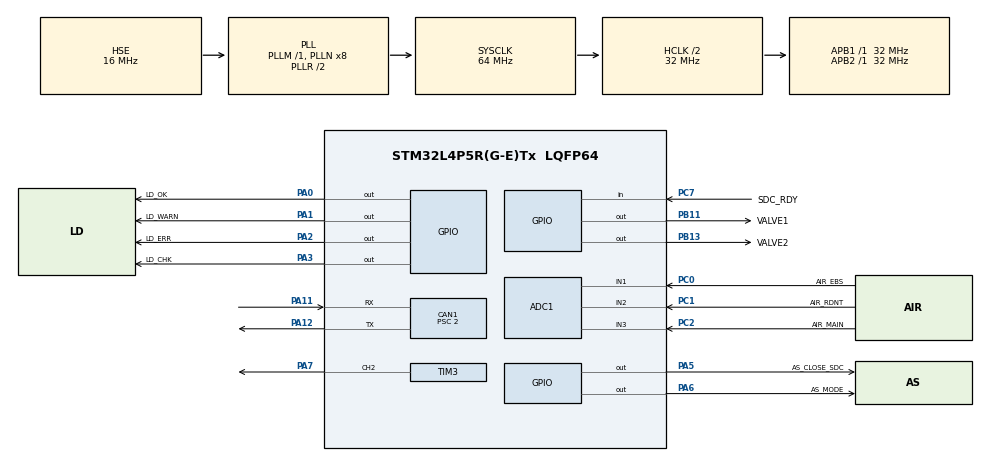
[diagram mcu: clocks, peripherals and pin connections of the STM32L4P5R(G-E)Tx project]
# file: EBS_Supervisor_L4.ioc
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ADC1.Channel-0\#ChannelRegularConversion=ADC_CHANNEL_1
ADC1.Channel-1\#ChannelRegularConversion=ADC_CHANNEL_2
ADC1.Channel-2\#ChannelRegularConversion=ADC_CHANNEL_3
ADC1.DMAContinuousRequests=ENABLE
ADC1.NbrOfConversion=3
ADC1.NbrOfConversionFlag=1
ADC1.OffsetNumber-0\#ChannelRegularConversion=ADC_OFFSET_NONE
ADC1.OffsetNumber-1\#ChannelRegularConversion=ADC_OFFSET_NONE
ADC1.OffsetNumber-2\#ChannelRegularConversion=ADC_OFFSET_NONE
ADC1.Rank-0\#ChannelRegularConversion=1
ADC1.Rank-1\#ChannelRegularConversion=2
ADC1.Rank-2\#ChannelRegularConversion=3
ADC1.SamplingTime-0\#ChannelRegularConversion=ADC_SAMPLETIME_2CYCLES_5
ADC1.SamplingTime-1\#ChannelRegularConversion=ADC_SAMPLETIME_2CYCLES_5
ADC1.SamplingTime-2\#ChannelRegularConversion=ADC_SAMPLETIME_2CYCLES_5
ADC1.master=1
CAN1.BS1=CAN_BS1_13TQ
CAN1.BS2=CAN_BS2_2TQ
CAN1.CalculateBaudRate=1000000
CAN1.CalculateTimeBit=1000
CAN1.CalculateTimeQuantum=62.5
CAN1.Mode=CAN_MODE_NORMAL
CAN1.Prescaler=2
Dma.ADC1.0.Direction=DMA_PERIPH_TO_MEMORY
Dma.ADC1.0.EventEnable=DISABLE
Dma.ADC1.0.Instance=DMA1_Channel1
Dma.ADC1.0.MemDataAlignment=DMA_MDATAALIGN_HALFWORD
Dma.ADC1.0.MemInc=DMA_MINC_ENABLE
Dma.ADC1.0.Mode=DMA_CIRCULAR
Dma.ADC1.0.PeriphDataAlignment=DMA_PDATAALIGN_HALFWORD
Dma.ADC1.0.PeriphInc=DMA_PINC_DISABLE
Dma.ADC1.0.Polarity=HAL_DMAMUX_REQ_GEN_RISING
Dma.ADC1.0.Priority=DMA_PRIORITY_MEDIUM
Dma.ADC1.0.RequestNumber=1
Dma.ADC1.0.SignalID=NONE
Dma.ADC1.0.SyncEnable=DISABLE
Dma.ADC1.0.SyncPolarity=HAL_DMAMUX_SYNC_NO_EVENT
Dma.ADC1.0.SyncRequestNumber=1
Dma.ADC1.0.SyncSignalID=NONE
Dma.Request0=ADC1
Mcu.Family=STM32L4
Mcu.Name=STM32L4P5R(G-E)Tx
Mcu.Package=LQFP64
NVIC.CAN1_RX0_IRQn=true\:0\:0\:false\:false\:true\:true\:true\:true
NVIC.CAN1_RX1_IRQn=true\:0\:0\:false\:false\:true\:true\:true\:true
NVIC.DMA1_Channel1_IRQn=true\:0\:0\:false\:false\:true\:false\:true\:true
NVIC.PriorityGroup=NVIC_PRIORITYGROUP_4
PA0.GPIO_Label=LD_OK
PA0.Signal=GPIO_Output
PA1.GPIO_Label=LD_WARN
PA1.Signal=GPIO_Output
PA11.Mode=CAN_Activate
PA11.Signal=CAN1_RX
PA12.Mode=CAN_Activate
PA12.Signal=CAN1_TX
PA13\ (JTMS/SWDIO).Mode=Serial_Wire
PA13\ (JTMS/SWDIO).Signal=SYS_JTMS-SWDIO
PA14\ (JTCK/SWCLK).Mode=Serial_Wire
PA14\ (JTCK/SWCLK).Signal=SYS_JTCK-SWCLK
PA2.GPIO_Label=LD_ERR
PA2.Signal=GPIO_Output
PA3.GPIO_Label=LD_CHK
PA3.Signal=GPIO_Output
PA5.GPIO_Label=AS_CLOSE_SDC
PA5.Signal=GPIO_Output
PA6.GPIO_Label=AS_MODE
PA6.Signal=GPIO_Output
PA7.Signal=S_TIM3_CH2
PB11.GPIO_Label=VALVE1
PB11.Signal=GPIO_Output
PB13.GPIO_Label=VALVE2
PB13.Signal=GPIO_Output
PC0.GPIO_Label=AIR_EBS
PC0.Signal=ADCx_IN1
PC1.GPIO_Label=AIR_RDNT
PC1.Signal=ADCx_IN2
PC2.GPIO_Label=AIR_MAIN
PC2.Signal=ADCx_IN3
PC7.GPIO_Label=SDC_RDY
PC7.Signal=GPIO_Input
PH0-OSC_IN\ (PH0).Mode=HSE-External-Oscillator
PH0-OSC_IN\ (PH0).Signal=RCC_OSC_IN
PH1-OSC_OUT\ (PH1).Mode=HSE-External-Oscillator
PH1-OSC_OUT\ (PH1).Signal=RCC_OSC_OUT
ProjectManager.HeapSize=0x200
ProjectManager.StackSize=0x400
ProjectManager.TargetToolchain=CMake
RCC.ADCFreq_Value=64000000
RCC.AHBCLKDivider=RCC_SYSCLK_DIV2
RCC.AHBFreq_Value=32000000
RCC.APB1Freq_Value=32000000
RCC.APB1TimFreq_Value=32000000
RCC.APB2Freq_Value=32000000
RCC.APB2TimFreq_Value=32000000
RCC.CortexFreq_Value=32000000
RCC.HCLKFreq_Value=32000000
RCC.HSE_VALUE=16000000
RCC.HSI48_VALUE=48000000
RCC.HSI_VALUE=16000000
RCC.LSE_VALUE=32768
RCC.MSI_VALUE=4000000
RCC.PLLSourceVirtual=RCC_PLLSOURCE_HSE
RCC.SYSCLKFreq_VALUE=64000000
RCC.SYSCLKSource=RCC_SYSCLKSOURCE_PLLCLK
RCC.USBFreq_Value=64000000
RCC.VCOOutputFreq_Value=128000000
SH.ADCx_IN1.0=ADC1_IN1,IN1-Single-Ended
SH.ADCx_IN2.0=ADC1_IN2,IN2-Single-Ended
SH.ADCx_IN3.0=ADC1_IN3,IN3-Single-Ended
SH.S_TIM3_CH2.0=TIM3_CH2,PWM Generation2 CH2
TIM3.Channel-PWM\ Generation2\ CH2=TIM_CHANNEL_2
TIM3.Period=4000
TIM3.Prescaler=1022
TIM3.Pulse-PWM\ Generation2\ CH2=2000
VP_TIM3_VS_ClockSourceINT.Mode=Internal
board=custom

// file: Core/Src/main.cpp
/* USER CODE BEGIN Header */
/**
 ******************************************************************************
 * @file           : main.c
 * @brief          : Main program body
 ******************************************************************************
 * @attention
 *
 * Copyright (c) 2023 STMicroelectronics.
 * All rights reserved.
 *
 * This software is licensed under terms that can be found in the LICENSE file
 * in the root directory of this software component.
 * If no LICENSE file comes with this software, it is provided AS-IS.
 *
 ******************************************************************************
 */
/* USER CODE END Header */
/* Includes
 * ------------------------------------------------------------------*/
#include "main.h"

/* Private includes
 * ----------------------------------------------------------*/
/* USER CODE BEGIN Includes */
#include "PUTM_CAN_M.h"
#include "PUTM_EV_CAN_LIBRARY/include/can_driver.hpp"
#include "gpioElements.hpp"
#include "stm32l4xx_hal_can.h"
#include "timer.hpp"
#include <cstdint>
#include <functional>
#include <math.h>

/* USER CODE END Includes */

/* Private typedef
 * -----------------------------------------------------------*/

/* Private define
 * ------------------------------------------------------------*/
/* USER CODE BEGIN PD */
#define USE_TEST 1

#define USE_TEST_POINTS 1

/* USER CODE END PD */

/* Private macro
 * -------------------------------------------------------------*/
/* USER CODE BEGIN PM */
struct TransferFcn {
    float a;
    float b;
    float solve(float x) { return a * x + b; }
};

struct Brake_data {
    float front = 0.0f;
    float rear = 0.0f;
    bool status = false;
};

/* USER CODE END PM */

/* Private variables
 * ---------------------------------------------------------*/
ADC_HandleTypeDef hadc1;
DMA_HandleTypeDef hdma_adc1;

CAN_HandleTypeDef hcan1;

TIM_HandleTypeDef htim3;

/* USER CODE BEGIN PV */
using namespace putm_ev_can;

const int adc_count = 3;

Brake_data brake_data;

uint16_t adc_dma_buffer[3];

uint16_t can_timeout_counter;

TransferFcn air_transferFcn = {3.227f, 620.0f};
// Transfer Function for Air pressure ADC readings:

float air_ebs;
float air_redundant;
float air_main;

GPIO_PinState SDC_STATE;

/* GPIO Section */
GpioOutElement led_ok(LD_OK_GPIO_Port, LD_OK_Pin);
GpioOutElement led_warn(LD_WARN_GPIO_Port, LD_WARN_Pin);
GpioOutElement led_err(LD_ERR_GPIO_Port, LD_ERR_Pin);
GpioOutElement led_chk(LD_CHK_GPIO_Port, LD_CHK_Pin);

GpioOutElement as_close_sdc(AS_CLOSE_SDC_GPIO_Port, AS_CLOSE_SDC_Pin);
GpioOutElement as_mode(AS_MODE_GPIO_Port, AS_MODE_Pin);

GpioOutElement valve1(VALVE1_GPIO_Port, VALVE1_Pin);
GpioOutElement valve2(VALVE2_GPIO_Port, VALVE2_Pin);

GpioInElement sdc_ready(SDC_RDY_GPIO_Port, SDC_RDY_Pin);

static struct Config {
    constexpr static float brake_lower_bound = 6.5f;
    constexpr static float brake_upper_bound = 8.f;
    constexpr static float brake_press_deviation = 0.01f;
    constexpr static float can_brake_offset = -0.01f;
    constexpr static float press_tf_coef = 1.f;
    constexpr static float can_brake_lower_bound = 1.f;
    constexpr static float can_engaged_brakes_upper_bound = 90.f;
    constexpr static float can_engaged_brakes_lower_bound = 60.f;

    constexpr static uint32_t sdc_settle_timeout = 100;
    constexpr static uint32_t valve_settle_delay = 200;
    constexpr static uint32_t valve_settle_timeout = 200;

    constexpr static uint16_t can_timeout = 100;
} volatile config;

/* Tests */
/* USER CODE END PV */

/* Private function prototypes
 * -----------------------------------------------*/
void SystemClock_Config(void);
static void MX_GPIO_Init(void);
static void MX_DMA_Init(void);
static void MX_TIM3_Init(void);
static void MX_CAN1_Init(void);
static void MX_ADC1_Init(void);
/* USER CODE BEGIN PFP */
void starTogglingWatchdog();
void stopTogglingWatchdog();
void can_filter_config(CAN_HandleTypeDef *hcan);
void can_driver_input_cb(const PUTM_CAN_M_driver_input_t &driver_input);

/* USER CODE END PFP */

/* Private user code
 * ---------------------------------------------------------*/

int main(void) {

    /* MCU
     * Configuration--------------------------------------------------------*/

    /* Reset of all peripherals, Initializes the Flash interface and the
     * Systick.
     */
    HAL_Init();

    /* Configure the system clock */
    SystemClock_Config();

    /* Initialize all configured peripherals */
    MX_GPIO_Init();
    MX_DMA_Init();
    MX_TIM3_Init();
    MX_CAN1_Init();
    MX_ADC1_Init();
    /* USER CODE BEGIN 2 */

    CanDriver can_m;
    can_filter_config(&hcan1);
    if (!can_m.Init(&hcan1)) {
        Error_Handler();
    }

    can_m.RegisterCallback<PUTM_CAN_M_driver_input_t>(
        PUTM_CAN_M_DRIVER_INPUT_FRAME_ID, can_driver_input_cb);

    HAL_ADCEx_Calibration_Start(&hadc1, 10);
    HAL_ADC_Start_DMA(&hadc1, (uint32_t *)adc_dma_buffer, adc_count);
    valve1.activate();
    valve2.activate();

    //--------------------------------------------------------------------------------------------------------------------
    // Initial checkup

    // check if sdc is working
    Timer sdc_timeout_timer(config.sdc_settle_timeout);
    starTogglingWatchdog();
    while (true) {
        if (sdc_timeout_timer.checkIfTimedOutThenReset())
            Error_Handler();
        if (sdc_ready.isActive())
            break;
    }

    sdc_timeout_timer.restart();
    stopTogglingWatchdog();
    while (true) {
        if (sdc_timeout_timer.checkIfTimedOutThenReset())
            Error_Handler();
        if (!sdc_ready.isActive())
            break;
    }

    starTogglingWatchdog();

    // check pressure
    if (std::abs(air_ebs - air_redundant) > config.brake_press_deviation)
        Error_Handler();
    if (config.brake_lower_bound >= air_ebs ||
        air_ebs >= config.brake_upper_bound)
        Error_Handler();
    if (config.brake_lower_bound >= air_redundant ||
        air_redundant >= config.brake_upper_bound)
        Error_Handler();

    if (brake_data.front < config.press_tf_coef * air_ebs)
        Error_Handler();
    if (brake_data.rear < config.press_tf_coef * air_ebs)
        Error_Handler();

    // wait for tc enabled
    //   bool tc_activated = false;
    //   do {
    //     HAL_Delay(100);
    //     auto tc_main = PUTM_CAN::can.get_tc_main();
    //     tc_activated = tc_main.traction_control_enable;
    //   } while (!tc_activated);

    // check valves
    valve1.activate();
    valve2.deactivate();
    HAL_Delay(config.valve_settle_delay);
    Timer valve_timeout_timer(config.valve_settle_timeout);
    while (true) {
        if (valve_timeout_timer.checkIfTimedOutThenReset())
            Error_Handler();
        while (brake_data.status == false) {
        }
        brake_data.status = false;
        if (brake_data.front > config.press_tf_coef * air_ebs &&
            brake_data.rear < config.can_brake_lower_bound)
            break;
    }
    valve1.activate();
    valve2.deactivate();
    HAL_Delay(config.valve_settle_delay);
    valve_timeout_timer.restart();
    while (true) {
        if (valve_timeout_timer.checkIfTimedOutThenReset())
            Error_Handler();
        while (brake_data.status == false) {
        }
        brake_data.status = false;
        if (brake_data.rear > config.press_tf_coef * air_ebs &&
            brake_data.front < config.can_brake_lower_bound)
            break;
    }

    /* USER CODE END 2 */

    /* Infinite loop */
    /* USER CODE BEGIN WHILE */
    // while (1) {
    //     SDC_STATE = HAL_GPIO_ReadPin(SDC_RDY_GPIO_Port, SDC_RDY_Pin);
    //     starTogglingWatchdog();
    //     as_close_sdc.activate();
    //     HAL_ADC_Start_DMA(&hadc1, (uint32_t *)adc_dma_buffer, adc_count);
    //     air_ebs = air_transferFcn.solve(float(adc_dma_buffer[0]));
    //     air_redundant = air_transferFcn.solve(float(adc_dma_buffer[1]));
    //     air_main = air_transferFcn.solve(float(adc_dma_buffer[2]));

    //     if (SDC_STATE == GPIO_PIN_RESET) {
    //         HAL_GPIO_TogglePin(LD_WARN_GPIO_Port, LD_WARN_Pin);
    //     }
    // Pressure conversion to mbar

    // cast wyjść z DMA
    //////////////////////////////////

    // PUTM_CAN::ASB_main asb_data{
    //     .airpressure_bank1 = static_cast<uint16_t>(air_ebs),
    //     .airpressure_bank2 = static_cast<uint16_t>(air_main),
    //     .SDC_Ready = 0,
    //     .valve1_active = 0,
    //     .valve2_active = 0,
    //     .device_state = PUTM_CAN::ASB_states::ASB_OK};

    // auto test1 =
    //     PUTM_CAN::Can_tx_message<ASB_main>(asb_data,
    //     can_tx_header_ASB_MAIN);
    // auto status = test1.send(hcan1);
    // // HAL_Delay(20);

    // if (status == HAL_ERROR) {
    //   HAL_GPIO_TogglePin(LD_ERR_GPIO_Port, LD_ERR_Pin);
    // }
}
//--------------------------------------------------------------------------------------------------------------------
// continuous monitoring

//   auto apps_main = PUTM_CAN::can.get_apps_main();
//   auto prev_apps_counter_value = apps_main.counter;
while (true) {
    // check sdc
    if (!sdc_ready.isActive()) {
        HAL_Delay(config.valve_settle_delay);
        valve_timeout_timer.restart();
        while (true) {
            if (valve_timeout_timer.checkIfTimedOutThenReset())
                Error_Handler();
            if (config.can_engaged_brakes_lower_bound < brake_data.front &&
                config.can_engaged_brakes_upper_bound > brake_data.rear &&
                config.can_engaged_brakes_lower_bound < brake_data.front &&
                config.can_engaged_brakes_upper_bound > brake_data.rear)
                break;
        }
        break;
    }

    // check if can alive
    //     auto apps_main = PUTM_CAN::can.get_apps_main();
    //     auto counter_value = apps_main.counter;
    //     if (prev_apps_counter_value == counter_value)
    //       can_timeout_counter++;
    //     else
    //       can_timeout_counter = 0;
    //     if (can_timeout_counter >= config.can_timeout)
    //       Error_Handler();
    //     prev_apps_counter_value = counter_value;

    // check Ass
    // TODO: do ustalenia skąd mam to niby brać

    // check RES
    // TODO: też do ustalenia

    //     check pressure
    if (std::abs(air_ebs - air_redundant) > config.brake_press_deviation)
        Error_Handler();
    if (config.brake_lower_bound >= air_ebs ||
        air_ebs >= config.brake_upper_bound)
        Error_Handler();
    if (config.brake_lower_bound >= air_redundant ||
        air_redundant >= config.brake_upper_bound)
        Error_Handler();

    /* USER CODE END WHILE */

    /* USER CODE BEGIN 3 */
    //--------------------------------------------------------------------------------------------------------------------
    // Stop monitoring
    // stopTogglingWatchdog();
    // TODO: idk if in stop monitoring mode sth should be done
    /* USER CODE END 3 */
}

void SystemClock_Config(void) {
    RCC_OscInitTypeDef RCC_OscInitStruct = {0};
    RCC_ClkInitTypeDef RCC_ClkInitStruct = {0};

    /** Configure the main internal regulator output voltage
     */
    if (HAL_PWREx_ControlVoltageScaling(PWR_REGULATOR_VOLTAGE_SCALE1) !=
        HAL_OK) {
        Error_Handler();
    }

    /** Initializes the RCC Oscillators according to the specified
     * parameters in the RCC_OscInitTypeDef structure.
     */
    RCC_OscInitStruct.OscillatorType = RCC_OSCILLATORTYPE_HSE;
    RCC_OscInitStruct.HSEState = RCC_HSE_ON;
    RCC_OscInitStruct.PLL.PLLState = RCC_PLL_ON;
    RCC_OscInitStruct.PLL.PLLSource = RCC_PLLSOURCE_HSE;
    RCC_OscInitStruct.PLL.PLLM = 1;
    RCC_OscInitStruct.PLL.PLLN = 8;
    RCC_OscInitStruct.PLL.PLLP = RCC_PLLP_DIV2;
    RCC_OscInitStruct.PLL.PLLQ = RCC_PLLQ_DIV2;
    RCC_OscInitStruct.PLL.PLLR = RCC_PLLR_DIV2;
    if (HAL_RCC_OscConfig(&RCC_OscInitStruct) != HAL_OK) {
        Error_Handler();
    }

    /** Initializes the CPU, AHB and APB buses clocks
     */
    RCC_ClkInitStruct.ClockType = RCC_CLOCKTYPE_HCLK | RCC_CLOCKTYPE_SYSCLK |
                                  RCC_CLOCKTYPE_PCLK1 | RCC_CLOCKTYPE_PCLK2;
    RCC_ClkInitStruct.SYSCLKSource = RCC_SYSCLKSOURCE_PLLCLK;
    RCC_ClkInitStruct.AHBCLKDivider = RCC_SYSCLK_DIV2;
    RCC_ClkInitStruct.APB1CLKDivider = RCC_HCLK_DIV1;
    RCC_ClkInitStruct.APB2CLKDivider = RCC_HCLK_DIV1;

    if (HAL_RCC_ClockConfig(&RCC_ClkInitStruct, FLASH_LATENCY_1) != HAL_OK) {
        Error_Handler();
    }
}

static void MX_ADC1_Init(void) {

    ADC_MultiModeTypeDef multimode = {0};
    ADC_ChannelConfTypeDef sConfig = {0};

    /** Common config
     */
    hadc1.Instance = ADC1;
    hadc1.Init.ClockPrescaler = ADC_CLOCK_ASYNC_DIV1;
    hadc1.Init.Resolution = ADC_RESOLUTION_12B;
    hadc1.Init.DataAlign = ADC_DATAALIGN_RIGHT;
    hadc1.Init.ScanConvMode = ADC_SCAN_ENABLE;
    hadc1.Init.EOCSelection = ADC_EOC_SINGLE_CONV;
    hadc1.Init.LowPowerAutoWait = DISABLE;
    hadc1.Init.ContinuousConvMode = DISABLE;
    hadc1.Init.NbrOfConversion = 3;
    hadc1.Init.DiscontinuousConvMode = DISABLE;
    hadc1.Init.ExternalTrigConv = ADC_SOFTWARE_START;
    hadc1.Init.ExternalTrigConvEdge = ADC_EXTERNALTRIGCONVEDGE_NONE;
    hadc1.Init.DMAContinuousRequests = ENABLE;
    hadc1.Init.Overrun = ADC_OVR_DATA_PRESERVED;
    hadc1.Init.OversamplingMode = DISABLE;
    hadc1.Init.DFSDMConfig = ADC_DFSDM_MODE_ENABLE;
    if (HAL_ADC_Init(&hadc1) != HAL_OK) {
        Error_Handler();
    }

    /** Configure the ADC multi-mode
     */
    multimode.Mode = ADC_MODE_INDEPENDENT;
    if (HAL_ADCEx_MultiModeConfigChannel(&hadc1, &multimode) != HAL_OK) {
        Error_Handler();
    }

    /** Configure Regular Channel
     */
    sConfig.Channel = ADC_CHANNEL_1;
    sConfig.Rank = ADC_REGULAR_RANK_1;
    sConfig.SamplingTime = ADC_SAMPLETIME_2CYCLES_5;
    sConfig.SingleDiff = ADC_SINGLE_ENDED;
    sConfig.OffsetNumber = ADC_OFFSET_NONE;
    sConfig.Offset = 0;
    if (HAL_ADC_ConfigChannel(&hadc1, &sConfig) != HAL_OK) {
        Error_Handler();
    }

    /** Configure Regular Channel
     */
    sConfig.Channel = ADC_CHANNEL_2;
    sConfig.Rank = ADC_REGULAR_RANK_2;
    if (HAL_ADC_ConfigChannel(&hadc1, &sConfig) != HAL_OK) {
        Error_Handler();
    }

    /** Configure Regular Channel
     */
    sConfig.Channel = ADC_CHANNEL_3;
    sConfig.Rank = ADC_REGULAR_RANK_3;
    if (HAL_ADC_ConfigChannel(&hadc1, &sConfig) != HAL_OK) {
        Error_Handler();
    }
}

static void MX_CAN1_Init(void) {

    hcan1.Instance = CAN1;
    hcan1.Init.Prescaler = 2;
    hcan1.Init.Mode = CAN_MODE_NORMAL;
    hcan1.Init.SyncJumpWidth = CAN_SJW_1TQ;
    hcan1.Init.TimeSeg1 = CAN_BS1_13TQ;
    hcan1.Init.TimeSeg2 = CAN_BS2_2TQ;
    hcan1.Init.TimeTriggeredMode = DISABLE;
    hcan1.Init.AutoBusOff = DISABLE;
    hcan1.Init.AutoWakeUp = DISABLE;
    hcan1.Init.AutoRetransmission = DISABLE;
    hcan1.Init.ReceiveFifoLocked = DISABLE;
    hcan1.Init.TransmitFifoPriority = DISABLE;
    if (HAL_CAN_Init(&hcan1) != HAL_OK) {
        Error_Handler();
    }
}

static void MX_TIM3_Init(void) {

    TIM_ClockConfigTypeDef sClockSourceConfig = {0};
    TIM_MasterConfigTypeDef sMasterConfig = {0};
    TIM_OC_InitTypeDef sConfigOC = {0};

    htim3.Instance = TIM3;
    htim3.Init.Prescaler = 1022;
    htim3.Init.CounterMode = TIM_COUNTERMODE_UP;
    htim3.Init.Period = 4000;
    htim3.Init.ClockDivision = TIM_CLOCKDIVISION_DIV1;
    htim3.Init.AutoReloadPreload = TIM_AUTORELOAD_PRELOAD_DISABLE;
    if (HAL_TIM_Base_Init(&htim3) != HAL_OK) {
        Error_Handler();
    }
    sClockSourceConfig.ClockSource = TIM_CLOCKSOURCE_INTERNAL;
    if (HAL_TIM_ConfigClockSource(&htim3, &sClockSourceConfig) != HAL_OK) {
        Error_Handler();
    }
    if (HAL_TIM_PWM_Init(&htim3) != HAL_OK) {
        Error_Handler();
    }
    sMasterConfig.MasterOutputTrigger = TIM_TRGO_RESET;
    sMasterConfig.MasterSlaveMode = TIM_MASTERSLAVEMODE_DISABLE;
    if (HAL_TIMEx_MasterConfigSynchronization(&htim3, &sMasterConfig) !=
        HAL_OK) {
        Error_Handler();
    }
    sConfigOC.OCMode = TIM_OCMODE_PWM1;
    sConfigOC.Pulse = 2000;
    sConfigOC.OCPolarity = TIM_OCPOLARITY_HIGH;
    sConfigOC.OCFastMode = TIM_OCFAST_DISABLE;
    if (HAL_TIM_PWM_ConfigChannel(&htim3, &sConfigOC, TIM_CHANNEL_2) !=
        HAL_OK) {
        Error_Handler();
    }
    HAL_TIM_MspPostInit(&htim3);
}

static void MX_DMA_Init(void) {
    /* DMA controller clock enable */
    __HAL_RCC_DMAMUX1_CLK_ENABLE();
    __HAL_RCC_DMA1_CLK_ENABLE();

    /* DMA interrupt init */
    /* DMA1_Channel1_IRQn interrupt configuration */
    HAL_NVIC_SetPriority(DMA1_Channel1_IRQn, 0, 0);
    HAL_NVIC_EnableIRQ(DMA1_Channel1_IRQn);
}

static void MX_GPIO_Init(void) {
    GPIO_InitTypeDef GPIO_InitStruct = {0};

    /* GPIO Ports Clock Enable */
    __HAL_RCC_GPIOH_CLK_ENABLE();
    __HAL_RCC_GPIOC_CLK_ENABLE();
    __HAL_RCC_GPIOA_CLK_ENABLE();
    __HAL_RCC_GPIOB_CLK_ENABLE();

    /*Configure GPIO pin Output Level */
    HAL_GPIO_WritePin(GPIOA,
                      LD_OK_Pin | LD_WARN_Pin | LD_ERR_Pin | LD_CHK_Pin |
                          AS_CLOSE_SDC_Pin | AS_MODE_Pin,
                      GPIO_PIN_RESET);

    /*Configure GPIO pin Output Level */
    HAL_GPIO_WritePin(GPIOB, VALVE1_Pin | VALVE2_Pin, GPIO_PIN_RESET);

    /*Configure GPIO pins : LD_OK_Pin LD_WARN_Pin LD_ERR_Pin LD_CHK_Pin
                           AS_CLOSE_SDC_Pin AS_MODE_Pin */
    GPIO_InitStruct.Pin = LD_OK_Pin | LD_WARN_Pin | LD_ERR_Pin | LD_CHK_Pin |
                          AS_CLOSE_SDC_Pin | AS_MODE_Pin;
    GPIO_InitStruct.Mode = GPIO_MODE_OUTPUT_PP;
    GPIO_InitStruct.Pull = GPIO_NOPULL;
    GPIO_InitStruct.Speed = GPIO_SPEED_FREQ_LOW;
    HAL_GPIO_Init(GPIOA, &GPIO_InitStruct);

    /*Configure GPIO pins : VALVE1_Pin VALVE2_Pin */
    GPIO_InitStruct.Pin = VALVE1_Pin | VALVE2_Pin;
    GPIO_InitStruct.Mode = GPIO_MODE_OUTPUT_PP;
    GPIO_InitStruct.Pull = GPIO_NOPULL;
    GPIO_InitStruct.Speed = GPIO_SPEED_FREQ_LOW;
    HAL_GPIO_Init(GPIOB, &GPIO_InitStruct);

    /*Configure GPIO pin : SDC_RDY_Pin */
    GPIO_InitStruct.Pin = SDC_RDY_Pin;
    GPIO_InitStruct.Mode = GPIO_MODE_INPUT;
    GPIO_InitStruct.Pull = GPIO_NOPULL;
    HAL_GPIO_Init(SDC_RDY_GPIO_Port, &GPIO_InitStruct);

}

/* USER CODE BEGIN 4 */

void can_driver_input_cb(const PUTM_CAN_M_driver_input_t &driver_input) {
    // driver_input.break_pressure* returns in kP and we use Bars, so
    // times 0.01
    brake_data.front = PUTM_CAN_M_driver_input_brake_pressure_front_decode(
                           driver_input.brake_pressure_front) *
                           0.01f +
                       config.can_brake_offset;
    brake_data.rear = PUTM_CAN_M_driver_input_brake_pressure_rear_decode(
                          driver_input.brake_pressure_rear) *
                          0.01f +
                      config.can_brake_offset;
    brake_data.status = true;
}

void HAL_ADC_ConsCpltCallback(ADC_HandleTypeDef *hadc) {
    air_ebs = air_transferFcn.solve(float(adc_dma_buffer[0]));
    air_redundant = air_transferFcn.solve(float(adc_dma_buffer[1]));
    air_main = air_transferFcn.solve(float(adc_dma_buffer[2]));
    // HAL_ADC_Start_DMA(&hadc1, (uint32_t*)adc_dma_buffer, adc_count);
}

void can_filter_config(CAN_HandleTypeDef *hcan) {
    constexpr static CAN_FilterTypeDef sFilterConfig{
        .FilterIdHigh = 0x0000,
        .FilterIdLow = 0x0000,
        .FilterMaskIdHigh = 0x0000,
        .FilterMaskIdLow = 0x0000,
        .FilterFIFOAssignment = CAN_RX_FIFO0,
        .FilterBank = 0,
        .FilterMode = CAN_FILTERMODE_IDMASK,
        .FilterScale = CAN_FILTERSCALE_32BIT,
        .FilterActivation = ENABLE,
        .SlaveStartFilterBank = 14};

    if (HAL_CAN_ConfigFilter(hcan, &sFilterConfig) != HAL_OK) {
        Error_Handler();
    }
}

void starTogglingWatchdog() { HAL_TIM_PWM_Start(&htim3, TIM_CHANNEL_2); }

void stopTogglingWatchdog() { HAL_TIM_PWM_Stop(&htim3, TIM_CHANNEL_2); }

/* USER CODE END 4 */

void Error_Handler(void) {
    /* USER CODE BEGIN Error_Handler_Debug */
    /* User can add his own implementation to report the HAL error return
     * state
     */
    __disable_irq();
    while (1) {
    }
    /* USER CODE END Error_Handler_Debug */
}

#ifdef USE_FULL_ASSERT
/**
 * @brief  Reports the name of the source file and the source line number
 *         where the assert_param error has occurred.
 * @param  file: pointer to the source file name
 * @param  line: assert_param error line source number
 * @retval None
 */
void assert_failed(uint8_t *file, uint32_t line) {
    /* USER CODE BEGIN 6 */
    /* User can add his own implementation to report the file name and line
     number, ex: printf("Wrong parameters value: file %s on line %d\r\n",
     file, line) */
    /* USER CODE END 6 */
}
#endif /* USE_FULL_ASSERT */
